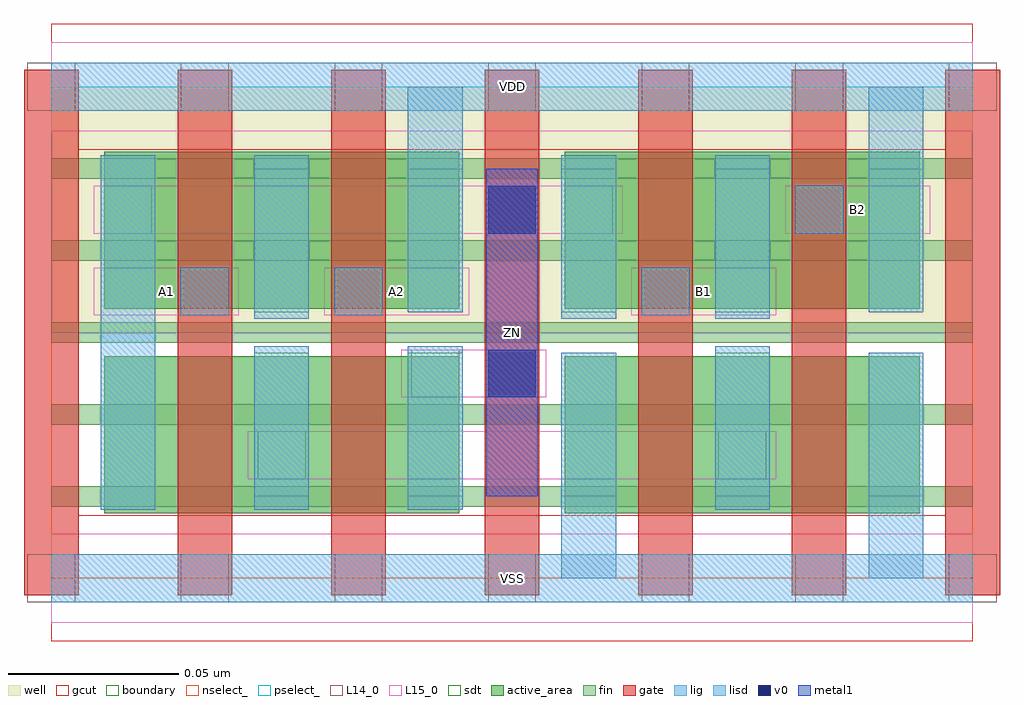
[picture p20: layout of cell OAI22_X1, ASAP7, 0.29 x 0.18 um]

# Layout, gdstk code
import gdstk
lib = gdstk.Library(unit=1e-6, precision=2.5e-10)
def R(c, l, rs):  # rectangles x0, y0, x1, y1
    for r in rs: c.add(gdstk.rectangle(r[:2], r[2:], *l))
def A(c, l, x, y, w, h, nx, ny, dx, dy):  # array of equal rectangles
    R(c, l, [(x+i*dx, y+j*dy, x+i*dx+w, y+j*dy+h) for i in range(nx) for j in range(ny)])
well = (1, 0)
fin = (2, 0)
gate = (7, 0)
gcut = (10, 0)
active_area = (11, 0)
nselect_ = (12, 0)
pselect_ = (13, 0)
L14_0 = (14, 0)
L15_0 = (15, 0)
lig = (16, 0)
lisd = (17, 0)
v0 = (18, 0)
metal1 = (19, 0)
sdt = (88, 0)
boundary = (100, 0)

oai22_x1 = lib.new_cell('OAI22_X1')
R(oai22_x1, well, [(0,0.072,0.27,0.144)])
A(oai22_x1, fin, 0, 0.021, 0.27, 0.006, 1, 5, 0, 0.024)
A(oai22_x1, gate, -0.008, -0.005, 0.016, 0.154, 7, 1, 0.045, 0)
R(oai22_x1, gcut, [(0,-0.0185,0.27,0.0185), (-0.008,-0.005,0.008,0.149), (0.262,-0.005,0.278,0.149), (0,0.1255,0.27,0.1625)])
R(oai22_x1, active_area, [(0.0155,0.019,0.0745,0.065), (0.0605,0.019,0.1195,0.065), (0.1505,0.019,0.2095,0.065), (0.1955,0.019,0.2545,0.065), (0.0155,0.079,0.0745,0.125), (0.0605,0.079,0.1195,0.125), (0.1505,0.079,0.2095,0.125), (0.1955,0.079,0.2545,0.125)])
R(oai22_x1, nselect_, [(0,0,0.27,0.072)])
R(oai22_x1, pselect_, [(0,0.072,0.27,0.144)])
A(oai22_x1, L14_0, -0.007, -0.007, 0.014, 0.014, 7, 2, 0.045, 0.144)
R(oai22_x1, L14_0, [(0.0605,0.029,0.0745,0.043), (0.1955,0.029,0.2095,0.043), (0.1055,0.053,0.1195,0.067), (0.038,0.077,0.052,0.091), (0.083,0.077,0.097,0.091), (0.173,0.077,0.187,0.091), (0.0155,0.101,0.0295,0.115), (0.1505,0.101,0.1645,0.115), (0.218,0.101,0.232,0.115)])
R(oai22_x1, L15_0, [(0,-0.013,0.27,0.013), (0.0575,0.029,0.2125,0.043), (0.1025,0.053,0.145,0.067), (0.0125,0.077,0.055,0.091), (0.08,0.077,0.1225,0.091), (0.17,0.077,0.2125,0.091), (0.0125,0.101,0.1675,0.115), (0.215,0.101,0.2575,0.115), (0,0.131,0.27,0.157)])
R(oai22_x1, lig, [(0,-0.007,0.27,0.007), (0.038,0.077,0.052,0.091), (0.083,0.077,0.097,0.091), (0.173,0.077,0.187,0.091), (0.218,0.101,0.232,0.115), (0,0.137,0.27,0.151)])
R(oai22_x1, lisd, [(0.1495,0,0.1655,0.066), (0.2395,0,0.2555,0.066), (0.0145,0.02,0.0305,0.124), (0.0595,0.02,0.0755,0.068), (0.0595,0.02,0.0755,0.068), (0.1045,0.02,0.1205,0.068), (0.1945,0.02,0.2105,0.068), (0.1945,0.02,0.2105,0.068), (0.0595,0.076,0.0755,0.124), (0.0595,0.076,0.0755,0.124), (0.1495,0.076,0.1655,0.124), (0.1945,0.076,0.2105,0.124), (0.1945,0.076,0.2105,0.124), (0.1045,0.078,0.1205,0.144), (0.2395,0.078,0.2555,0.144)])
R(oai22_x1, v0, [(0.128,0.053,0.142,0.067), (0.128,0.101,0.142,0.115)])
R(oai22_x1, metal1, [(0.1275,0.024,0.1425,0.12)])
A(oai22_x1, sdt, 0.0595, 0.024, 0.016, 0.042, 4, 2, 0.045, 0.054)
R(oai22_x1, sdt, [(0.0145,0.02,0.0305,0.124), (0.0595,0.024,0.0755,0.066), (0.1945,0.024,0.2105,0.066), (0.2395,0.024,0.2555,0.066), (0.0595,0.078,0.0755,0.12), (0.1945,0.078,0.2105,0.12), (0.2395,0.078,0.2555,0.12)])
R(oai22_x1, boundary, [(0,0,0.27,0.144)])
oai22_x1.add(gdstk.Label('VDD', (0.135,0.144), layer=1, texttype=251))
oai22_x1.add(gdstk.Label('VSS', (0.135,0), layer=3, texttype=251))
oai22_x1.add(gdstk.Label('A1', (0.0338,0.084), layer=15, texttype=251))
oai22_x1.add(gdstk.Label('A2', (0.1013,0.084), layer=15, texttype=251))
oai22_x1.add(gdstk.Label('B1', (0.1913,0.084), layer=15, texttype=251))
oai22_x1.add(gdstk.Label('B2', (0.2363,0.108), layer=15, texttype=251))
oai22_x1.add(gdstk.Label('VSS', (0.135,0), layer=15, texttype=251))
oai22_x1.add(gdstk.Label('VDD', (0.135,0.144), layer=15, texttype=251))
oai22_x1.add(gdstk.Label('ZN', (0.135,0.072), layer=19, texttype=251))

lib.write_gds('OAI22_X1.gds')
